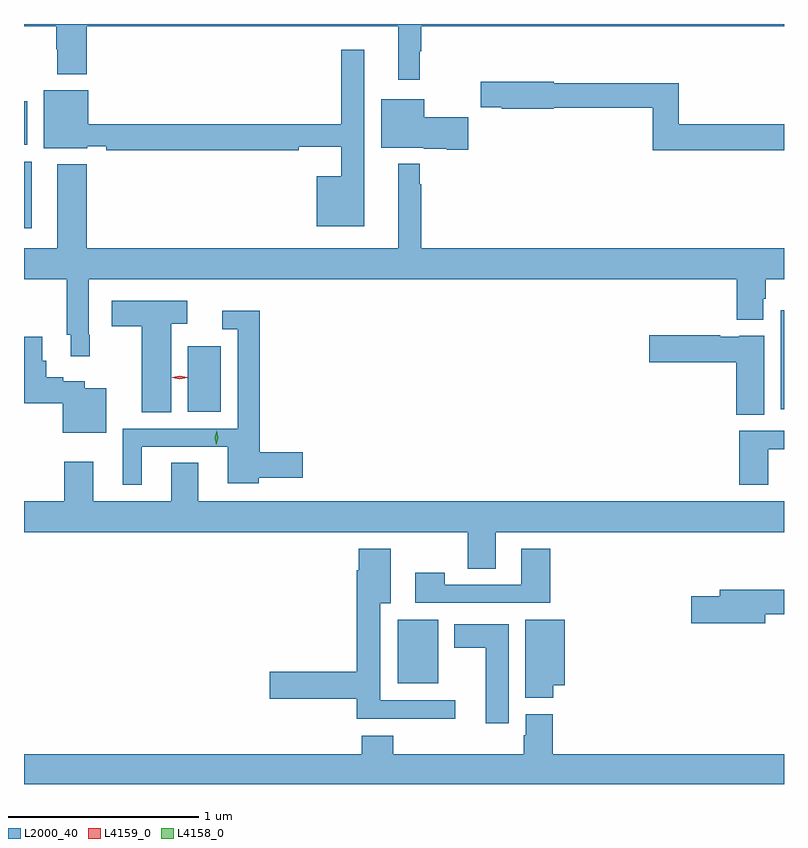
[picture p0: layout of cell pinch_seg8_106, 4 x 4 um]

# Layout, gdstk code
import gdstk
lib = gdstk.Library(unit=1e-6, precision=1e-09)
def R(c, l, rs):  # rectangles x0, y0, x1, y1
    for r in rs: c.add(gdstk.rectangle(r[:2], r[2:], *l))
def P(c, l, *ps):  # polygons
    for p in ps: c.add(gdstk.Polygon(p, *l))
L2000_40 = (2000, 40)
L4158_0 = (4158, 0)
L4159_0 = (4159, 0)

pinch_seg8_106 = lib.new_cell('pinch_seg8_106')
R(pinch_seg8_106, L2000_40, [(1036.25,1117.037,1036.462,1117.372), (1035.146,1118.468,1035.319,1118.812), (1038.266,1118.48,1038.283,1119.001), (1034.283,1119.432,1034.323,1119.784), (1034.283,1119.872,1034.299,1120.102)])
P(pinch_seg8_106, L2000_40, [(1036.367,1120.364),(1036.375,1120.364),(1036.375,1120.496),(1038.283,1120.496),(1038.283,1120.508),(1034.283,1120.508),(1034.283,1120.496),(1034.452,1120.496),(1034.452,1120.376),(1034.459,1120.376),(1034.459,1120.244),(1034.612,1120.244),(1034.612,1120.496),(1036.253,1120.496),(1036.253,1120.215),(1036.367,1120.215)],
  [(1036.075,1120.372),(1035.954,1120.372),(1035.954,1119.98),(1034.62,1119.98),(1034.62,1120.159),(1034.387,1120.159),(1034.387,1119.854),(1034.616,1119.854),(1034.616,1119.864),(1034.716,1119.864),(1034.716,1119.844),(1035.728,1119.844),(1035.728,1119.863),(1035.954,1119.863),(1035.954,1119.706),(1035.824,1119.706),(1035.824,1119.443),(1036.075,1119.443)],
  [(1038.283,1119.98),(1037.729,1119.98),(1037.729,1120.195),(1037.07,1120.195),(1037.07,1120.203),(1036.686,1120.203),(1036.686,1120.07),(1036.798,1120.07),(1036.798,1120.061),(1037.07,1120.061),(1037.07,1120.066),(1037.593,1120.066),(1037.593,1119.844),(1038.283,1119.844)],
  [(1036.621,1120.016),(1036.39,1120.016),(1036.39,1120.111),(1036.163,1120.111),(1036.163,1119.857),(1036.386,1119.857),(1036.386,1119.851),(1036.508,1119.851),(1036.508,1119.845),(1036.621,1119.845)],
  [(1035.058,1118.93),(1035.142,1118.93),(1035.142,1119.052),(1034.745,1119.052),(1034.745,1118.918),(1034.903,1118.918),(1034.903,1118.464),(1035.058,1118.464)],
  [(1034.902,1118.283),(1035.356,1118.283),(1035.356,1118.09),(1035.518,1118.09),(1035.518,1118.12),(1035.751,1118.12),(1035.751,1118.255),(1035.524,1118.255),(1035.524,1118.998),(1035.327,1118.998),(1035.327,1118.901),(1035.408,1118.901),(1035.408,1118.379),(1034.804,1118.379),(1034.804,1118.082),(1034.902,1118.082)],
  [(1038.035,1119.164),(1038.035,1118.951),(1038.175,1118.951),(1038.175,1119.063),(1038.188,1119.063),(1038.188,1119.164),(1038.283,1119.164),(1038.283,1119.328),(1036.375,1119.328),(1036.375,1119.665),(1036.367,1119.665),(1036.367,1119.772),(1036.253,1119.772),(1036.253,1119.328),(1034.612,1119.328),(1034.612,1119.769),(1034.459,1119.769),(1034.459,1119.328),(1034.283,1119.328),(1034.283,1119.164),(1034.509,1119.164),(1034.509,1118.872),(1034.528,1118.872),(1034.528,1118.76),(1034.63,1118.76),(1034.63,1118.872),(1034.625,1118.872),(1034.625,1119.164)],
  [(1038.178,1118.866),(1038.048,1118.866),(1038.048,1118.863),(1037.948,1118.863),(1037.948,1118.871),(1037.574,1118.871),(1037.574,1118.729),(1038.032,1118.729),(1038.032,1118.452),(1038.178,1118.452)],
  [(1034.716,1118.59),(1034.602,1118.59),(1034.602,1118.629),(1034.49,1118.629),(1034.49,1118.648),(1034.399,1118.648),(1034.399,1118.736),(1034.38,1118.736),(1034.38,1118.863),(1034.283,1118.863),(1034.283,1118.512),(1034.486,1118.512),(1034.486,1118.357),(1034.716,1118.357)],
  [(1038.199,1118.271),(1038.283,1118.271),(1038.283,1118.367),(1038.047,1118.367),(1038.047,1118.082),(1038.199,1118.082)],
  [(1036.765,1117.832),(1038.283,1117.832),(1038.283,1117.996),(1035.199,1117.996),(1035.199,1118.198),(1035.059,1118.198),(1035.059,1117.996),(1034.647,1117.996),(1034.647,1118.203),(1034.495,1118.203),(1034.495,1117.996),(1034.283,1117.996),(1034.283,1117.832),(1036.618,1117.832),(1036.618,1117.642),(1036.765,1117.642)],
  [(1036.552,1116.948),(1036.159,1116.948),(1036.159,1117.46),(1036.213,1117.46),(1036.213,1117.747),(1036.046,1117.747),(1036.046,1117.634),(1036.034,1117.634),(1036.034,1117.1),(1035.576,1117.1),(1035.576,1116.958),(1036.034,1116.958),(1036.034,1116.851),(1036.552,1116.851)],
  [(1037.054,1117.747),(1036.901,1117.747),(1036.901,1117.557),(1036.497,1117.557),(1036.497,1117.621),(1036.341,1117.621),(1036.341,1117.461),(1037.054,1117.461)],
  [(1038.184,1117.402),(1038.283,1117.402),(1038.283,1117.531),(1037.945,1117.531),(1037.945,1117.497),(1037.796,1117.497),(1037.796,1117.355),(1038.184,1117.355)],
  [(1037.069,1117.028),(1037.128,1117.028),(1037.128,1117.372),(1036.922,1117.372),(1036.922,1116.961),(1037.069,1116.961)],
  [(1036.834,1117.348),(1036.547,1117.348),(1036.547,1117.226),(1036.712,1117.226),(1036.712,1116.828),(1036.834,1116.828)],
  [(1038.283,1116.664),(1037.066,1116.664),(1037.066,1116.876),(1036.925,1116.876),(1036.925,1116.765),(1036.913,1116.765),(1036.913,1116.664),(1036.226,1116.664),(1036.226,1116.763),(1036.061,1116.763),(1036.061,1116.664),(1034.283,1116.664),(1034.283,1116.508),(1038.283,1116.508)])
P(pinch_seg8_106, L4158_0, [(1035.294,1118.294),(1035.294,1118.294),(1035.286,1118.331),(1035.298,1118.366),(1035.298,1118.367),(1035.298,1118.366),(1035.306,1118.33),(1035.294,1118.294)])
P(pinch_seg8_106, L4159_0, [(1035.102,1118.638),(1035.062,1118.647),(1035.062,1118.648),(1035.062,1118.648),(1035.102,1118.658),(1035.142,1118.648),(1035.143,1118.648),(1035.142,1118.647)])

lib.write_gds('pinch_seg8_106.gds')
